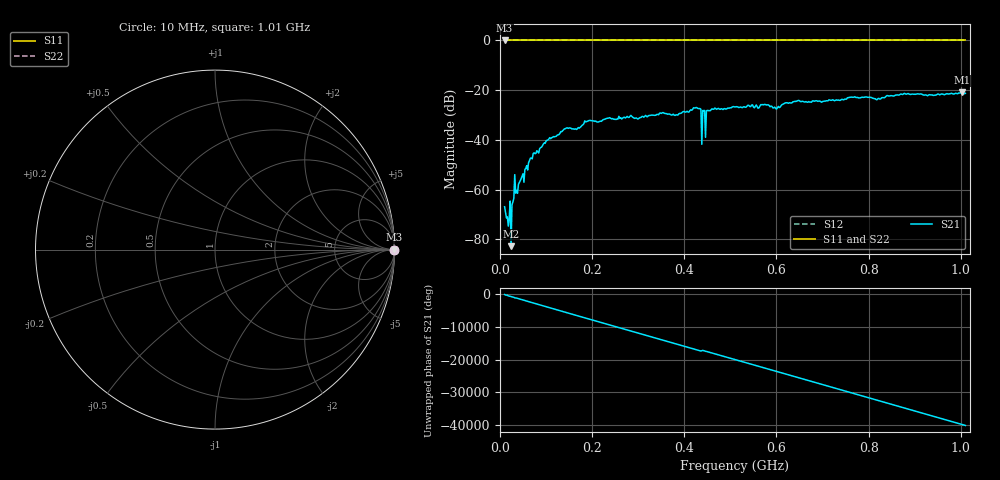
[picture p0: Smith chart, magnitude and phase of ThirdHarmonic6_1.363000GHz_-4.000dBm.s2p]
! 8/16/2025 3:23:53 PM
! C:\ANRITSUVNA\TEMP\TEMP.S2P
! CHANNEL.1
! TR.MEASUREMENT
! RAW.DATA
! RF.CORRECTION.OFF
! AVERAGING.OFF
! IF.BANDWIDTH: 5KHZ
! SWEEPTYPE:  FREQ.SWEEP(Linear)
! Reference Plane Port Info
! PORT:  PORT1  PORT2
! DISTANCE:  0  m  0  m
! TIME:  0  s  0  s
! PHASE.OFFSET:  0  deg.  0  deg.
! LOSS:  0  dB  0  dB
! REF.LOSS:  0  dB  0  dB
! REF.FREQ:  0  Hz  0  Hz
! Power Info
! POWER:  -20  dBm  -20  dBm
! EFF.POWER:  -20  dBm  -20  dBm
! SOURCE.ATTEN:  0  dB  0  dB
! TEST.ATTEN:  0  dB  0  dB
# GHZ S RI R 50.0
! FREQ.GHZ  S11RE  S11IM  S21RE  S21IM  S12RE  S12IM  S22RE  S22IM
!; PortSelection: Port_12
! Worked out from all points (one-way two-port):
!   501 points, 10 MHz to 1.01 GHz, reference 50 ohm
!   highest |S21| = -20.88 dB at 1.002 GHz (marker M1); lowest = -82.7 dB at 24 MHz (marker M2)
!   lowest |S11| = 0.0 dB at 10 MHz (marker M3)
!   |S11| at or under -10 dB: nowhere
!   |S22| runs from 0.0 to 0.0 dB; largest |S21 - S12| = 1.1
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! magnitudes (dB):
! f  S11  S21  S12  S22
! 10 MHz  0.0  -66.8  0.0  0.0
! 20 MHz  0.0  -71.5  0.0  0.0
! 24 MHz  0.0  -82.7  0.0  0.0
! 32 MHz  0.0  -53.9  0.0  0.0
! 76 MHz  0.0  -45.5  0.0  0.0
! 142 MHz  0.0  -35.5  0.0  0.0
! 178 MHz  0.0  -34.1  0.0  0.0
! 194 MHz  0.0  -32.2  0.0  0.0
! 344 MHz  0.0  -29.9  0.0  0.0
! 382 MHz  0.0  -29.9  0.0  0.0
! 430 MHz  0.0  -27.4  0.0  0.0
! 442 MHz  0.0  -28.2  0.0  0.0
! 444 MHz  0.0  -28.1  0.0  0.0
! 450 MHz  0.0  -28.1  0.0  0.0
! 452 MHz  0.0  -28.2  0.0  0.0
! 510 MHz  0.0  -26.7  0.0  0.0
! 598 MHz  0.0  -27.2  0.0  0.0
! 644 MHz  0.0  -24.4  0.0  0.0
! 678 MHz  0.0  -24.3  0.0  0.0
! 844 MHz  0.0  -22.3  0.0  0.0
! 1.002 GHz  0.0  -20.9  0.0  0.0
! 1.01 GHz  0.0  -21.2  0.0  0.0
